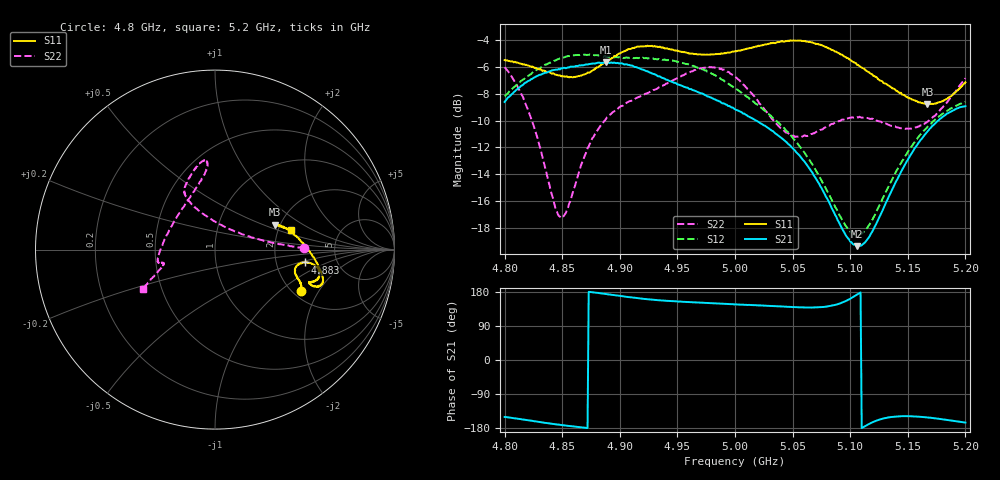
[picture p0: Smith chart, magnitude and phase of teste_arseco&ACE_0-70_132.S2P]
! Network Analyzer HP8722D
! Hewlett-Packard
! Data name: Linha & Wilkinson
! Saver's name: Rodrigo Anjos
! Comments: Teste da utilização de aquisição
! continua pelo VNA HP8722D
! Time and date: 8/5/2025 13:51
!  Frequency  S11  S21  S12  S22
# HZ  S  MA R 50
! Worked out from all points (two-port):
!   401 points, 4.8 GHz to 5.2 GHz, reference 50 ohm
!   highest |S21| = -5.68 dB at 4.888 GHz (marker M1); lowest = -19.3 dB at 5.106 GHz (marker M2)
!   |S21| within 3 dB of the highest: start of sweep to 4.988 GHz
!   lowest |S11| = -8.8 dB at 5.167 GHz (marker M3), VSWR 2.14, Z = 94.3 + j30.3 ohm
!   |S11| at or under -10 dB: nowhere
!   |S22| runs from -17.2 to -6.0 dB; largest |S21 - S12| = 1.1
!   S11 on the Smith chart (normalised r, x): 4.8 GHz: 2.22, -1.41; 4.883 GHz: 2.92, -0.57; 5.2 GHz: 2.35, +0.64
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4.8e9  0.5306 -25.5  0.3708 -150.3  0.3892 8.8  0.4986 1.0
4.811e9  0.5197 -22.5  0.4137 -154.9  0.4331 7.5  0.4254 2.6
4.822e9  0.5031 -20.6  0.4465 -159.8  0.4688 5.7  0.3319 6.3
4.847e9  0.4654 -16.3  0.4921 -170.5  0.535 1.9  0.14 54.1
4.854e9  0.462 -14.5  0.4962 -173.4  0.547 0.7  0.1466 82.3
4.867e9  0.4656 -10.9  0.5083 -178.1  0.555 -1.3  0.2196 109.9
4.883e9  0.5059 -8.2  0.518 176.1  0.5499 -2.5  0.3016 118.0
4.888e9  0.5229 -8.1  0.5202 174.1  0.548 -2.6  0.3207 118.5
4.913e9  0.5903 -11.6  0.5 164.2  0.5401 -1.8  0.3805 116.2
4.934e9  0.5939 -16.2  0.4621 157.6  0.5364 -2.6  0.4204 110.6
4.975e9  0.5552 -19.4  0.392 150.3  0.4858 -6.3  0.4995 97.6
5e9  0.5721 -20.1  0.3486 146.6  0.4181 -6.2  0.4612 95.8
5.042e9  0.6219 -18.2  0.2687 141.0  0.2984 1.5  0.2917 129.0
5.067e9  0.6175 -13.9  0.2031 138.5  0.218 9.0  0.2822 165.0
5.095e9  0.5468 -4.2  0.1211 154.0  0.1308 34.2  0.3184 -172.2
5.106e9  0.5096 1.0  0.1079 172.5  0.1185 55.0  0.3258 -168.5
5.117e9  0.4752 6.8  0.1177 -167.8  0.1304 76.4  0.321 -166.9
5.134e9  0.4253 14.8  0.1666 -151.2  0.1825 94.5  0.3043 -166.0
5.152e9  0.3819 21.1  0.2338 -148.4  0.2484 100.2  0.2954 -164.6
5.167e9  0.364 22.5  0.2878 -151.7  0.2994 101.1  0.3128 -161.5
5.182e9  0.3774 20.6  0.3305 -157.2  0.339 101.1  0.3609 -157.4
5.2e9  0.4387 14.6  0.3575 -165.1  0.3714 101.5  0.4543 -151.3
